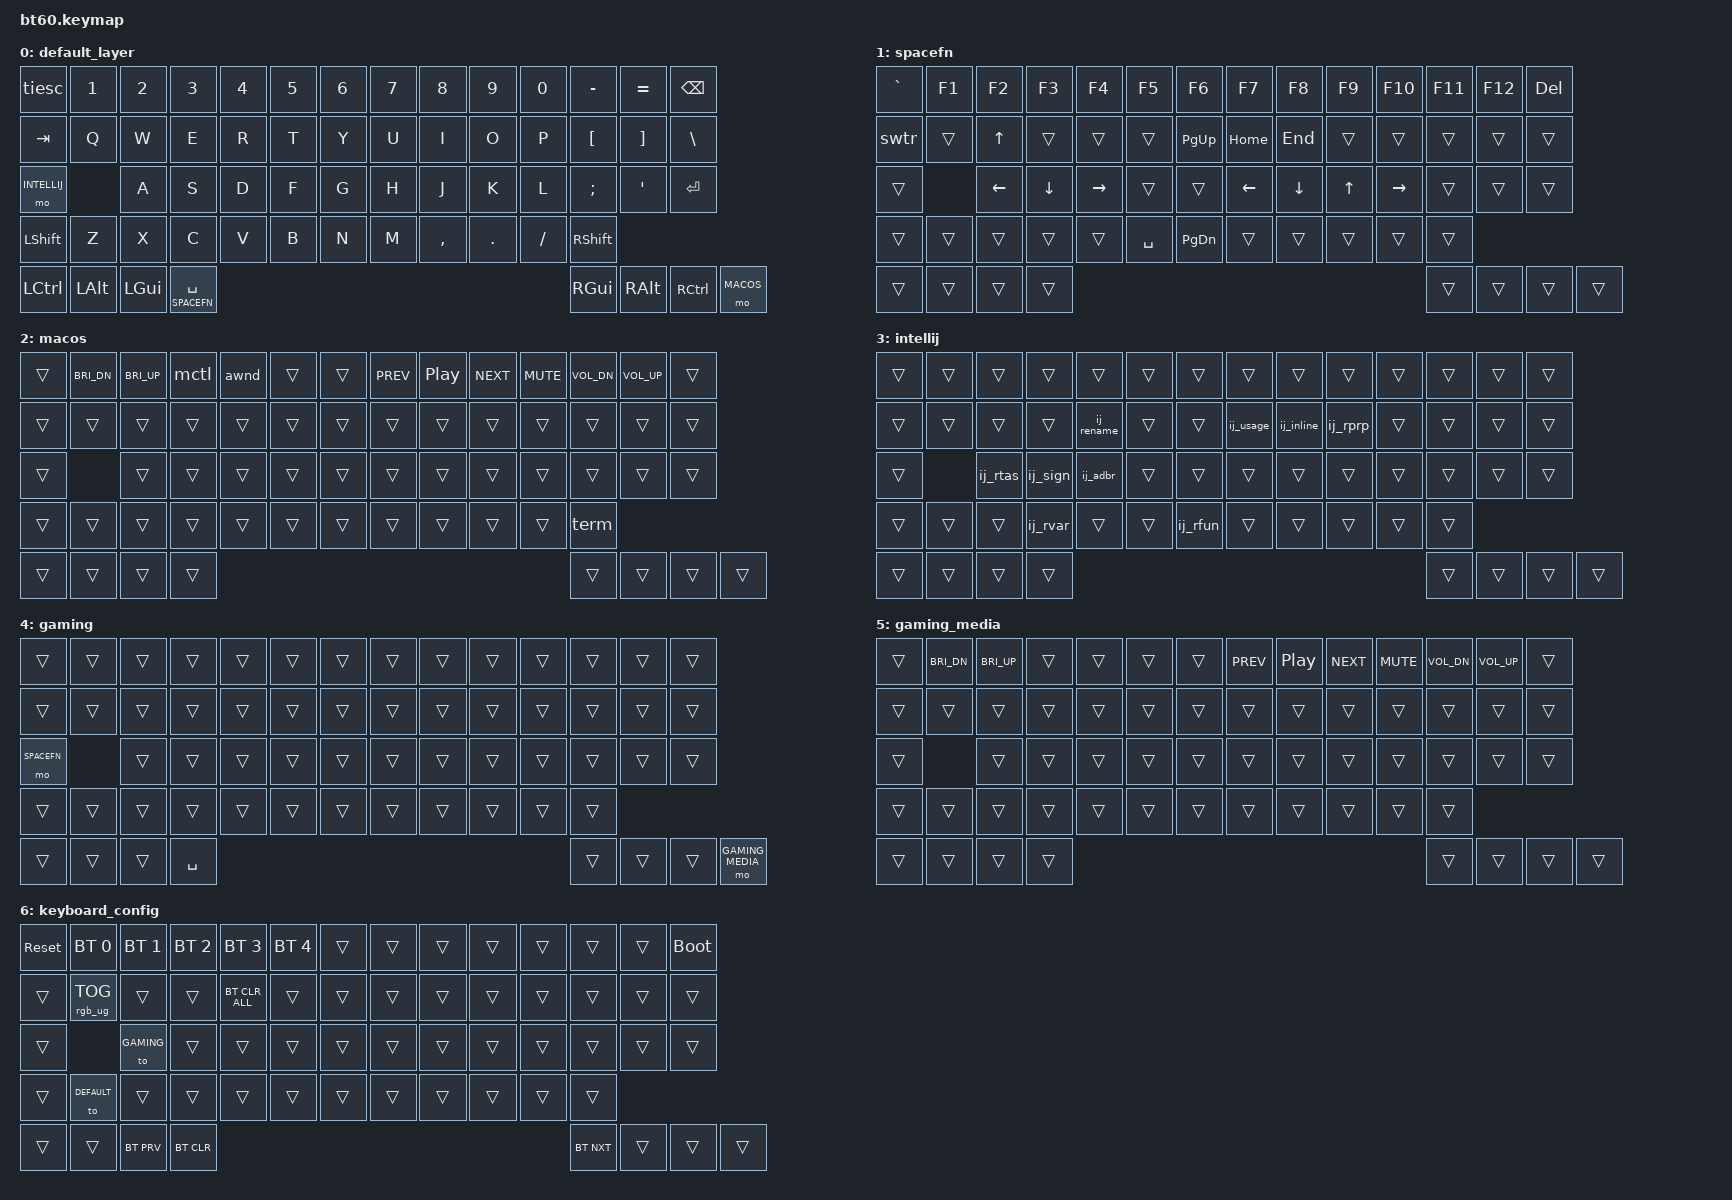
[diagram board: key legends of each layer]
#include <behaviors.dtsi>
#include <dt-bindings/zmk/keys.h>
#include <dt-bindings/zmk/bt.h>
#include <dt-bindings/zmk/rgb.h>
#include <dt-bindings/zmk/backlight.h>

#define DEFAULT 0
#define SPACEFN 1
#define MACOS 2
#define INTELLIJ 3
#define GAMING 4
#define GAMING_MEDIA 5
#define CONFIG 6
/ {
	macros {
    	ij_rename: ij_rename {
			label = "Refactor Rename";
			compatible = "zmk,behavior-macro";
			#binding-cells = <0>;
			wait-ms = <10>;
			bindings
				= <&macro_press &kp LSHFT>
				, <&macro_tap &kp F6>
				, <&macro_release &kp LSHFT>
				;
    	};
		ij_usage: ij_usage {
			label = "Usage";
			compatible = "zmk,behavior-macro";
			#binding-cells = <0>;
			wait-ms = <10>;
			bindings
				= <&macro_press &kp LALT>
				, <&macro_tap &kp F7>
				, <&macro_release &kp LALT>
				;
    	};
		ij_inline: ij_inline {
			label = "Refactor Inline";
			compatible = "zmk,behavior-macro";
			#binding-cells = <0>;
			wait-ms = <10>;
			bindings
				= <&macro_press &kp LALT>
				, <&macro_press &kp LGUI>
				, <&macro_tap &kp N>
				, <&macro_release &kp LGUI>
				, <&macro_release &kp LALT>
				;
    	};
		ij_rprp: ij_rprp {
			label = "Refactor Extract Property";
			compatible = "zmk,behavior-macro";
			#binding-cells = <0>;
			wait-ms = <10>;
			bindings
				= <&macro_press &kp LALT>
				, <&macro_press &kp LGUI>
				, <&macro_tap &kp P>
				, <&macro_release &kp LGUI>
				, <&macro_release &kp LALT>
				;
    	};
		ij_rtas: ij_rtas {
			label = "Refactor Type Alias";
			compatible = "zmk,behavior-macro";
			#binding-cells = <0>;
			wait-ms = <10>;
			bindings
				= <&macro_press &kp LALT>
				, <&macro_press &kp LSHFT>
				, <&macro_press &kp LGUI>
				, <&macro_tap &kp A>
				, <&macro_release &kp LSHFT>
				, <&macro_release &kp LGUI>
				, <&macro_release &kp LALT>
				;
    	};
		ij_sign: ij_sign {
			label = "Refactor Change Signature";
			compatible = "zmk,behavior-macro";
			#binding-cells = <0>;
			wait-ms = <10>;
			bindings
				= <&macro_press &kp LGUI>
				, <&macro_tap &kp F6>
				, <&macro_release &kp LGUI>
				;
    	};
		ij_adbr: ij_adbr {
			label = "Attach Debugger";
			compatible = "zmk,behavior-macro";
			#binding-cells = <0>;
			wait-ms = <10>;
			bindings
				= <&macro_press &kp LALT>
				, <&macro_press &kp LSHFT>
				, <&macro_tap &kp F5>
				, <&macro_release &kp LSHFT>
				, <&macro_release &kp LALT>
				;
    	};
		ij_rvar: ij_rvar {
			label = "Refactor Extract Variable";
			compatible = "zmk,behavior-macro";
			#binding-cells = <0>;
			wait-ms = <10>;
			bindings
				= <&macro_press &kp LALT>
				, <&macro_press &kp LGUI>
				, <&macro_tap &kp V>
				, <&macro_release &kp LGUI>
				, <&macro_release &kp LALT>
				;
    	};
		ij_rfun: ij_rfun {
			label = "Refactor Extract Function";
			compatible = "zmk,behavior-macro";
			#binding-cells = <0>;
			wait-ms = <10>;
			bindings
				= <&macro_press &kp LALT>
				, <&macro_press &kp LSHIFT>
				, <&macro_press &kp LGUI>
				, <&macro_tap &kp M>
				, <&macro_release &kp LGUI>
				, <&macro_release &kp LSHIFT>
				, <&macro_release &kp LALT>
				;
    	};
		swtr: swtr {
			label = "macOS Next Application Window";
			compatible = "zmk,behavior-macro";
			#binding-cells = <0>;
			wait-ms = <10>;
			bindings
				= <&macro_press &kp LGUI>
				, <&macro_tap &kp GRAVE>
				, <&macro_release &kp LGUI>
				;
    	};
		mctl: mctl {
			label = "macOS Mission Control";
			compatible = "zmk,behavior-macro";
			#binding-cells = <0>;
			wait-ms = <10>;
			bindings
				= <&macro_press &kp LCTRL>
				, <&macro_tap &kp UP>
				, <&macro_release &kp LCTRL>
				;
    	};
		awnd: awnd {
			label = "macOS App Windows";
			compatible = "zmk,behavior-macro";
			#binding-cells = <0>;
			wait-ms = <10>;
			bindings
				= <&macro_press &kp LCTRL>
				, <&macro_tap &kp DOWN>
				, <&macro_release &kp LCTRL>
				;
    	};
		term: term {
			label = "macOS Terminal Hotkey";
			compatible = "zmk,behavior-macro";
			#binding-cells = <0>;
			wait-ms = <10>;
			bindings
				= <&macro_press &kp RALT>
				, <&macro_tap &kp SLASH>
				, <&macro_release &kp RALT>
				;
    	};
	};
	combos {
        compatible = "zmk,combos";
        combo_config {
            timeout-ms = <300>;
            key-positions = <54 58>;
            bindings = <&mo CONFIG>;
        };
    };
	behaviors {
        tiesc: tilde_escape {
            compatible = "zmk,behavior-mod-morph";
            label = "TILDE_ESCAPE";
            #binding-cells = <0>;
            bindings = <&kp ESC>, <&kp TILDE>;
            mods = <(MOD_LSFT)>;
        };
    };

	keymap {
		compatible = "zmk,keymap";

		default_layer {
				// ------------------------------------------------------------------------------------------
				// | ESC |  1  |  2  |  3  |  4  |  5  |  6  |  7  |  8  |  9  |  0  |  -  |  =  |   BKSP
				// | TAB  |  Q  |  W  |  E  |  R  |  T  |  Y  |  U  |  I  |  O  |  P  |  [  |  ]  |   |
				// | INTELLIJ  |  A  |  S  |  D  |  F  |  G  |  H  |  J  |  K  |  L  |  ;  |  '  |     ENTER
				// |  SHIFT    |  Z  |  X  |  C  |  V  |  B  |  N  |  M  |  ,  |  .  | /   |      SHIFT
				// |  CTRL  |  OPT  |  CMD  |            SPACE               | CMD | OPT |  CTRL  |  MACOS
				// ------------------------------------------------------------------------------------------
			bindings = <
				&tiesc &kp N1 &kp N2 &kp N3 &kp N4 &kp N5 &kp N6 &kp N7 &kp  N8   &kp  N9 &kp  N0  &kp MINUS &kp EQUAL &kp BSPC
				&kp TAB  &kp Q  &kp W  &kp E  &kp R  &kp T  &kp Y  &kp U  &kp  I    &kp  O  &kp  P   &kp LBKT &kp RBKT   &kp BSLH
				&mo INTELLIJ  &kp A  &kp S  &kp D  &kp F  &kp G  &kp H  &kp J  &kp  K    &kp  L  &kp SEMI &kp SQT            &kp RET
				&kp LSHFT  &kp Z  &kp X  &kp C  &kp V  &kp B  &kp N  &kp M  &kp COMMA &kp DOT &kp FSLH                   &kp RSHFT
				&kp LCTRL &kp LALT &kp LGUI            &lt SPACEFN SPACE                     &kp RGUI  &kp RALT &kp RCTRL    &mo MACOS
			>;
		};
		spacefn {
			bindings = <
				&kp GRAVE &kp F1 &kp F2 &kp F3 &kp F4 &kp F5 &kp F6 &kp F7 &kp F8 &kp F9 &kp F10 &kp F11 &kp F12 &kp DEL
				&swtr &trans &kp UP &trans &trans &trans &kp PG_UP &kp HOME &kp END &trans &trans &trans &trans &trans
				&trans &kp LEFT &kp DOWN &kp RIGHT &trans &trans &kp LEFT &kp DOWN &kp UP &kp RIGHT &trans &trans &trans
				&trans &trans &trans &trans &trans &kp SPACE &kp PG_DN &trans &trans &trans &trans &trans
				&trans &trans &trans                     &trans                                 &trans &trans &trans &trans
			>;
		};
		macos {
			bindings = <
				&trans &kp C_BRI_DN &kp C_BRI_UP &mctl &awnd &trans &trans &kp C_PREV &kp C_PP &kp C_NEXT &kp K_MUTE &kp C_VOL_DN &kp C_VOL_UP &trans
				&trans &trans &trans &trans &trans &trans &trans &trans &trans &trans &trans &trans &trans &trans
				&trans &trans &trans &trans &trans &trans &trans &trans &trans &trans &trans &trans &trans
				&trans &trans &trans &trans &trans &trans &trans &trans &trans &trans &trans &term 
				&trans &trans &trans                     &trans                                 &trans &trans &trans &trans
			>;
		};
		intellij {
			bindings = <
				&trans &trans &trans &trans &trans &trans &trans &trans &trans &trans &trans &trans &trans &trans
				&trans &trans &trans &trans &ij_rename &trans &trans &ij_usage &ij_inline &ij_rprp &trans &trans &trans &trans
				&trans &ij_rtas &ij_sign &ij_adbr &trans &trans &trans &trans &trans &trans &trans &trans &trans
				&trans &trans &trans &ij_rvar &trans &trans &ij_rfun &trans &trans &trans &trans &trans 
				&trans &trans &trans                     &trans                                 &trans &trans &trans &trans
			>;
		};
		gaming {
			bindings = <
				&trans &trans &trans &trans &trans &trans &trans &trans &trans &trans &trans &trans &trans &trans
				&trans &trans &trans &trans &trans &trans &trans &trans &trans &trans &trans &trans &trans &trans
				&mo SPACEFN &trans &trans &trans &trans &trans &trans &trans &trans &trans &trans &trans &trans
				&trans &trans &trans &trans &trans &trans &trans &trans &trans &trans &trans &trans
				&trans &trans &trans                     &kp SPACE                             &trans &trans &trans &mo GAMING_MEDIA
			>;
		};
		gaming_media {
			bindings = <
				&trans &kp C_BRI_DN &kp C_BRI_UP &trans &trans &trans &trans &kp C_PREV &kp C_PP &kp C_NEXT &kp K_MUTE &kp C_VOL_DN &kp C_VOL_UP &trans
				&trans &trans &trans &trans &trans &trans &trans &trans &trans &trans &trans &trans &trans &trans
				&trans &trans &trans &trans &trans &trans &trans &trans &trans &trans &trans &trans &trans
				&trans &trans &trans &trans &trans &trans &trans &trans &trans &trans &trans &trans
				&trans &trans &trans                     &trans                             &trans &trans &trans &trans
			>;
		};
		keyboard_config {
			bindings = <
				&sys_reset &bt BT_SEL 0 &bt BT_SEL 1 &bt BT_SEL 2 &bt BT_SEL 3 &bt BT_SEL 4 &trans &trans &trans &trans &trans &trans &trans &bootloader
				&trans &rgb_ug RGB_TOG &trans &trans &bt BT_CLR_ALL &trans &trans &trans &trans &trans &trans &trans &trans &trans
				&trans &to GAMING &trans &trans &trans &trans &trans &trans &trans &trans &trans &trans &trans
				&trans &to DEFAULT &trans &trans &trans &trans &trans &trans &trans &trans &trans &trans
				&trans &trans &bt BT_PRV                     &bt BT_CLR                         &bt BT_NXT &trans &trans &trans
			>;
		};
	};
};
